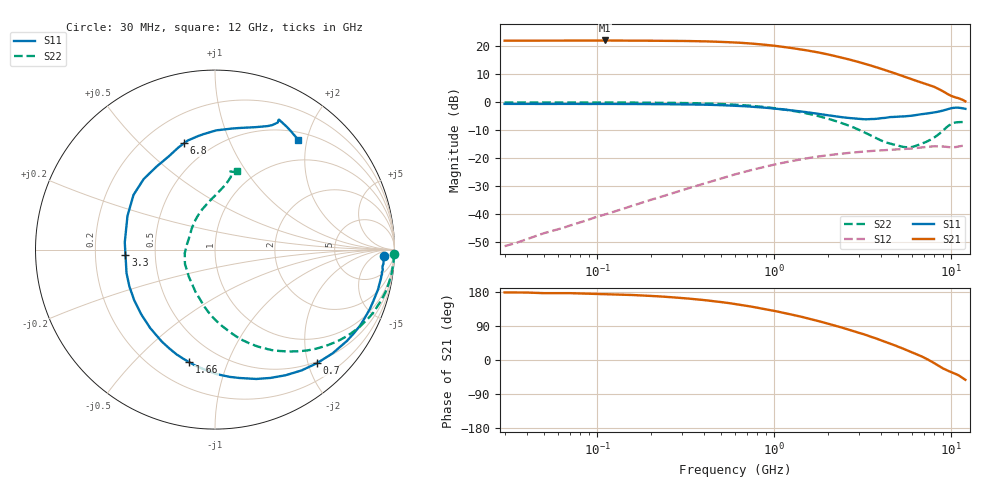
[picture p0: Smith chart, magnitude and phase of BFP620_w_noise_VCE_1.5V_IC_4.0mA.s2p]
! Infineon Technologies  Discrete & RF Semiconductors
! BFP620
! VCE =  1.5 V,  IC =  4.0 mA
! Common Emitter S-Parameters:  Nov 2015
# GHz  S  MA  R  50
!  f  S11  S21  S12  S22
! GHz  MAG  ANG  MAG  ANG  MAG  ANG  MAG  ANG
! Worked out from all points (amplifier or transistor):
!   239 points, 30 MHz to 12 GHz, reference 50 ohm
!   highest |S21| = 22.1 dB at 110 MHz (marker M1)
!   |S21| within 3 dB of that: start of sweep to 1.349 GHz
!   unconditionally stable (mu >= 1): 5.514 GHz to end of sweep
!   at 300 MHz: K = 0.05, MSG = 26.7 dB, |S12| = -31.4 dB
!   at 1.88 GHz: K = 0.44, MSG = 18.3 dB, |S12| = -19.1 dB
!   at 12 GHz: K = 1.26, MAG = 4.9 dB, |S12| = -15.6 dB
!   lowest NFmin = 0.63 dB at 450 MHz
!   S11 on the Smith chart (normalised r, x): 30 MHz: 24, -15; 700 MHz: 0.47, -2.16; 1.66 GHz: 0.34, -0.74; 3.3 GHz: 0.33, -0.02; 6.8 GHz: 0.36, +0.69; 12 GHz: 0.62, +1.85
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0.03  0.9414 -2.1  12.66 178.4  0.0027 88.8  0.9973 -1.4
0.085  0.9384 -5.9  12.73 175.3  0.0076 87.3  0.9971 -4.1
0.11  0.9382 -7.7  12.8 173.7  0.0099 86.0  0.996 -5.3
0.16  0.9366 -11.2  12.71 171.4  0.0144 83.7  0.9926 -7.8
0.24  0.9297 -16.6  12.61 167.0  0.0215 81.0  0.9847 -11.7
0.4  0.9121 -27.8  12.36 158.2  0.0355 74.9  0.9589 -19.3
0.6  0.8738 -41.4  11.79 147.8  0.0518 67.1  0.912 -28.5
0.7  0.8508 -48.0  11.44 142.8  0.059 63.4  0.8826 -32.8
0.9  0.8032 -60.6  10.67 133.7  0.0719 56.6  0.8196 -40.8
1.1  0.7566 -72.3  9.909 125.5  0.0827 50.6  0.7585 -47.9
1.4  0.6942 -89.1  8.909 114.8  0.0957 43.0  0.6699 -57.5
1.64  0.6472 -101.8  8.178 106.9  0.1039 37.8  0.6046 -64.5
1.66  0.6434 -102.9  8.122 106.3  0.1046 37.4  0.5996 -65.1
2  0.5918 -120.1  7.228 96.2  0.1138 30.8  0.5141 -74.6
2.42  0.5442 -139.9  6.275 85.2  0.1216 24.3  0.4241 -85.2
2.96  0.5111 -163.4  5.323 72.7  0.1295 17.3  0.3312 -99.1
3.3  0.4996 -176.8  4.827 66.0  0.1331 13.4  0.282 -108.4
4  0.5224 159.0  4.001 51.9  0.1393 6.3  0.2095 -134.2
4.5  0.5469 146.1  3.541 43.3  0.1419 2.0  0.1852 -154.8
6.8  0.6166 106.3  2.265 9.4  0.1569 -13.7  0.1828 132.0
9  0.718 71.8  1.571 -22.6  0.163 -32.2  0.3163 87.2
12  0.7675 52.7  1.045 -52.2  0.1664 -48.0  0.4534 74.1
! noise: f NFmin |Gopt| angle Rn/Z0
0.45  0.63  0.47  4  0.17
0.9  0.66  0.43  12  0.17
1.9  0.7  0.3  37  0.17
2.4  0.76  0.26  58  0.14
3.5  0.84  0.14  93  0.13
5.5  1.25  0.14  -174  0.13
10  1.94  0.61  -57  0.84
